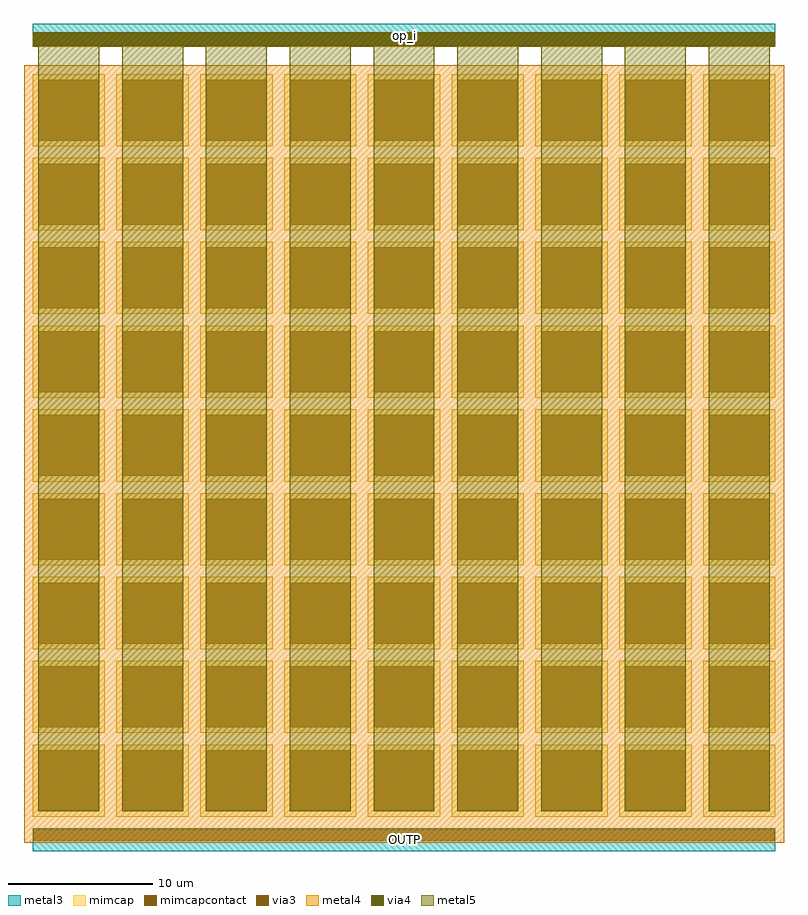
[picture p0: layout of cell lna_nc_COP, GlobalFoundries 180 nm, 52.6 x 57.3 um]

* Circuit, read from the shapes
.subckt lna_nc_COP op_i OUTP
XC1 op_i OUTP cap_mim_2f0fF c_width=5u c_length=5u m=81
.ends

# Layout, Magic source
magic
tech gf180mcuD
magscale 1 10
<< metal3 >>
rect 0 -340 10280 -160
rect 0 10660 10280 10860
rect 0 10660 10280 10980
rect 0 10660 10280 10980
rect 0 -480 10280 -160
rect 0 -480 10280 -160
<< metal4 >>
rect -120 -360 10400 10400
rect 0 -340 10280 -160
rect 0 10660 10280 10860
rect 0 10660 10280 10860
<< mimcap >>
rect 0 0 1000 1000
rect 1160 0 2160 1000
rect 2320 0 3320 1000
rect 3480 0 4480 1000
rect 4640 0 5640 1000
rect 5800 0 6800 1000
rect 6960 0 7960 1000
rect 8120 0 9120 1000
rect 9280 0 10280 1000
rect 0 1160 1000 2160
rect 1160 1160 2160 2160
rect 2320 1160 3320 2160
rect 3480 1160 4480 2160
rect 4640 1160 5640 2160
rect 5800 1160 6800 2160
rect 6960 1160 7960 2160
rect 8120 1160 9120 2160
rect 9280 1160 10280 2160
rect 0 2320 1000 3320
rect 1160 2320 2160 3320
rect 2320 2320 3320 3320
rect 3480 2320 4480 3320
rect 4640 2320 5640 3320
rect 5800 2320 6800 3320
rect 6960 2320 7960 3320
rect 8120 2320 9120 3320
rect 9280 2320 10280 3320
rect 0 3480 1000 4480
rect 1160 3480 2160 4480
rect 2320 3480 3320 4480
rect 3480 3480 4480 4480
rect 4640 3480 5640 4480
rect 5800 3480 6800 4480
rect 6960 3480 7960 4480
rect 8120 3480 9120 4480
rect 9280 3480 10280 4480
rect 0 4640 1000 5640
rect 1160 4640 2160 5640
rect 2320 4640 3320 5640
rect 3480 4640 4480 5640
rect 4640 4640 5640 5640
rect 5800 4640 6800 5640
rect 6960 4640 7960 5640
rect 8120 4640 9120 5640
rect 9280 4640 10280 5640
rect 0 5800 1000 6800
rect 1160 5800 2160 6800
rect 2320 5800 3320 6800
rect 3480 5800 4480 6800
rect 4640 5800 5640 6800
rect 5800 5800 6800 6800
rect 6960 5800 7960 6800
rect 8120 5800 9120 6800
rect 9280 5800 10280 6800
rect 0 6960 1000 7960
rect 1160 6960 2160 7960
rect 2320 6960 3320 7960
rect 3480 6960 4480 7960
rect 4640 6960 5640 7960
rect 5800 6960 6800 7960
rect 6960 6960 7960 7960
rect 8120 6960 9120 7960
rect 9280 6960 10280 7960
rect 0 8120 1000 9120
rect 1160 8120 2160 9120
rect 2320 8120 3320 9120
rect 3480 8120 4480 9120
rect 4640 8120 5640 9120
rect 5800 8120 6800 9120
rect 6960 8120 7960 9120
rect 8120 8120 9120 9120
rect 9280 8120 10280 9120
rect 0 9280 1000 10280
rect 1160 9280 2160 10280
rect 2320 9280 3320 10280
rect 3480 9280 4480 10280
rect 4640 9280 5640 10280
rect 5800 9280 6800 10280
rect 6960 9280 7960 10280
rect 8120 9280 9120 10280
rect 9280 9280 10280 10280
<< metal5 >>
rect 78 78 922 10760
rect 1238 78 2082 10760
rect 2398 78 3242 10760
rect 3558 78 4402 10760
rect 4718 78 5562 10760
rect 5878 78 6722 10760
rect 7038 78 7882 10760
rect 8198 78 9042 10760
rect 9358 78 10202 10760
rect 0 10660 10280 10860
rect 0 10660 10280 10860
<< via3 >>
rect 10 -330 10270 -170
rect 10 10670 10270 10850
<< via4 >>
rect 10 10670 10270 10850
<< mimcapcontact >>
rect 78 78 922 922
rect 1238 78 2082 922
rect 2398 78 3242 922
rect 3558 78 4402 922
rect 4718 78 5562 922
rect 5878 78 6722 922
rect 7038 78 7882 922
rect 8198 78 9042 922
rect 9358 78 10202 922
rect 78 1238 922 2082
rect 1238 1238 2082 2082
rect 2398 1238 3242 2082
rect 3558 1238 4402 2082
rect 4718 1238 5562 2082
rect 5878 1238 6722 2082
rect 7038 1238 7882 2082
rect 8198 1238 9042 2082
rect 9358 1238 10202 2082
rect 78 2398 922 3242
rect 1238 2398 2082 3242
rect 2398 2398 3242 3242
rect 3558 2398 4402 3242
rect 4718 2398 5562 3242
rect 5878 2398 6722 3242
rect 7038 2398 7882 3242
rect 8198 2398 9042 3242
rect 9358 2398 10202 3242
rect 78 3558 922 4402
rect 1238 3558 2082 4402
rect 2398 3558 3242 4402
rect 3558 3558 4402 4402
rect 4718 3558 5562 4402
rect 5878 3558 6722 4402
rect 7038 3558 7882 4402
rect 8198 3558 9042 4402
rect 9358 3558 10202 4402
rect 78 4718 922 5562
rect 1238 4718 2082 5562
rect 2398 4718 3242 5562
rect 3558 4718 4402 5562
rect 4718 4718 5562 5562
rect 5878 4718 6722 5562
rect 7038 4718 7882 5562
rect 8198 4718 9042 5562
rect 9358 4718 10202 5562
rect 78 5878 922 6722
rect 1238 5878 2082 6722
rect 2398 5878 3242 6722
rect 3558 5878 4402 6722
rect 4718 5878 5562 6722
rect 5878 5878 6722 6722
rect 7038 5878 7882 6722
rect 8198 5878 9042 6722
rect 9358 5878 10202 6722
rect 78 7038 922 7882
rect 1238 7038 2082 7882
rect 2398 7038 3242 7882
rect 3558 7038 4402 7882
rect 4718 7038 5562 7882
rect 5878 7038 6722 7882
rect 7038 7038 7882 7882
rect 8198 7038 9042 7882
rect 9358 7038 10202 7882
rect 78 8198 922 9042
rect 1238 8198 2082 9042
rect 2398 8198 3242 9042
rect 3558 8198 4402 9042
rect 4718 8198 5562 9042
rect 5878 8198 6722 9042
rect 7038 8198 7882 9042
rect 8198 8198 9042 9042
rect 9358 8198 10202 9042
rect 78 9358 922 10202
rect 1238 9358 2082 10202
rect 2398 9358 3242 10202
rect 3558 9358 4402 10202
rect 4718 9358 5562 10202
rect 5878 9358 6722 10202
rect 7038 9358 7882 10202
rect 8198 9358 9042 10202
rect 9358 9358 10202 10202
<< labels >>
flabel metal3 s 0 10660 10280 10980 0 FreeSans 80 0 0 0 op_i
port 1 nsew signal bidirectional
flabel metal3 s 0 -480 10280 -160 0 FreeSans 80 0 0 0 OUTP
port 2 nsew signal bidirectional
<< end >>
